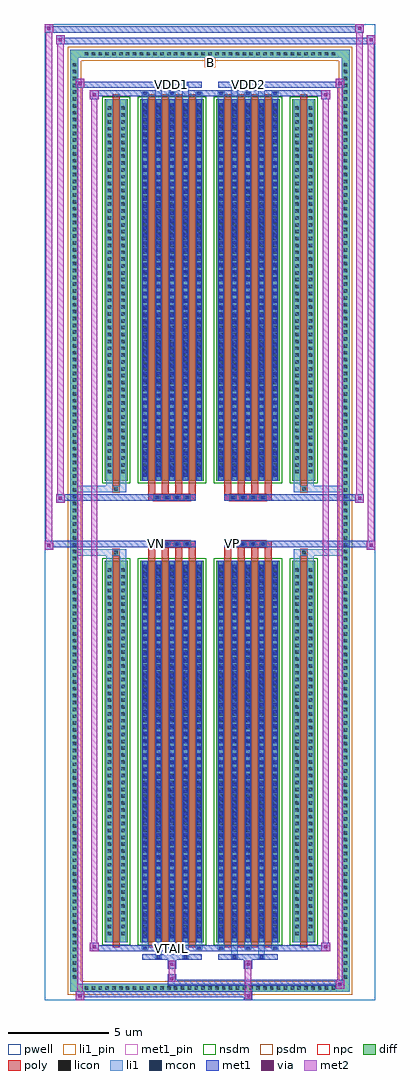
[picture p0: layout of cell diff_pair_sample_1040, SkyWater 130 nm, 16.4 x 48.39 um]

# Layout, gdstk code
import gdstk
lib = gdstk.Library(unit=1e-6, precision=5e-09)
def R(c, l, rs):  # rectangles x0, y0, x1, y1
    for r in rs: c.add(gdstk.rectangle(r[:2], r[2:], *l))
def A(c, l, x, y, w, h, nx, ny, dx, dy):  # array of equal rectangles
    R(c, l, [(x+i*dx, y+j*dy, x+i*dx+w, y+j*dy+h) for i in range(nx) for j in range(ny)])
def P(c, l, *ps):  # polygons
    for p in ps: c.add(gdstk.Polygon(p, *l))
pwell = (64, 44)
diff = (65, 20)
poly = (66, 20)
licon = (66, 44)
li1_pin = (67, 16)
li1 = (67, 20)
mcon = (67, 44)
met1_pin = (68, 16)
met1 = (68, 20)
via = (68, 44)
met2 = (69, 20)
nsdm = (93, 44)
psdm = (94, 20)
npc = (95, 20)

diff_pair_sample_1040 = lib.new_cell('diff_pair_sample_1040')
R(diff_pair_sample_1040, pwell, [(-8.2,-23.76,8.2,24.63), (-5.52,-21.95,-0.01,-0.795), (0.01,-21.95,5.52,-0.795), (-5.52,0.795,-0.01,21.95), (0.01,0.795,5.52,21.95)])
A(diff_pair_sample_1040, diff, -6.325, -23.36, 0.41, 0.41, 37, 2, 0.34, 46.31)
A(diff_pair_sample_1040, diff, -6.93, -22.815, 0.41, 0.41, 1, 134, 0, 0.34)
A(diff_pair_sample_1040, diff, 6.52, -22.815, 0.41, 0.41, 1, 134, 0, 0.34)
R(diff_pair_sample_1040, diff, [(-6.325,-23.36,6.325,-22.95), (-6.93,-22.815,-6.52,22.815), (6.52,-22.815,6.93,22.815), (-5.21,-20.905,-4.09,-1.985), (-3.45,-20.905,-0.32,-1.985), (0.32,-20.905,3.45,-1.985), (4.09,-20.905,5.21,-1.985), (-5.21,1.985,-4.09,20.905), (-3.45,1.985,-0.32,20.905), (0.32,1.985,3.45,20.905), (4.09,1.985,5.21,20.905), (-6.325,22.95,6.325,23.36)])
P(diff_pair_sample_1040, diff, [(6.93,23.36),(-6.93,23.36),(-6.93,-22.95),(-6.52,-22.95),(-6.52,22.95),(6.52,22.95),(6.52,-22.95),(-6.52,-22.95),(-6.93,-22.95),(-6.93,-23.36),(6.93,-23.36)])
A(diff_pair_sample_1040, poly, -3.06, -21.155, 0.34, 19.42, 4, 2, 0.67, 22.89)
A(diff_pair_sample_1040, poly, 0.71, -21.155, 0.34, 19.42, 4, 2, 0.67, 22.89)
A(diff_pair_sample_1040, poly, -3.06, -1.735, 0.34, 0.41, 4, 2, 0.67, 3.06)
A(diff_pair_sample_1040, poly, 0.71, -1.735, 0.34, 0.41, 4, 2, 0.67, 3.06)
A(diff_pair_sample_1040, poly, -2.8, -1.325, 0.33, 0.33, 4, 2, 0.5, 2.32)
A(diff_pair_sample_1040, poly, 0.97, -1.325, 0.33, 0.33, 4, 2, 0.5, 2.32)
R(diff_pair_sample_1040, poly, [(-4.82,-21.155,-4.48,-1.735), (4.48,-21.155,4.82,-1.735), (-4.815,-1.735,-4.485,-1.405), (-4.815,-1.735,-4.485,-1.405), (4.485,-1.735,4.815,-1.405), (4.485,-1.735,4.815,-1.405), (-3.06,-1.325,-0.71,-0.995), (0.71,-1.325,3.06,-0.995), (-3.06,0.995,-0.71,1.325), (0.71,0.995,3.06,1.325), (-4.815,1.405,-4.485,1.735), (-4.815,1.405,-4.485,1.735), (4.485,1.405,4.815,1.735), (4.485,1.405,4.815,1.735), (-4.82,1.735,-4.48,21.155), (4.48,1.735,4.82,21.155)])
A(diff_pair_sample_1040, licon, -6.205, -23.24, 0.17, 0.17, 37, 2, 0.34, 46.31)
A(diff_pair_sample_1040, licon, -6.81, -22.695, 0.17, 0.17, 1, 134, 0, 0.34)
A(diff_pair_sample_1040, licon, 6.64, -22.695, 0.17, 0.17, 1, 134, 0, 0.34)
A(diff_pair_sample_1040, licon, -5.07, -20.54, 0.17, 0.17, 1, 54, 0, 0.34)
A(diff_pair_sample_1040, licon, -4.4, -20.54, 0.17, 0.17, 1, 54, 0, 0.34)
A(diff_pair_sample_1040, licon, -3.31, -20.54, 0.17, 0.17, 5, 54, 0.67, 0.34)
A(diff_pair_sample_1040, licon, 0.46, -20.54, 0.17, 0.17, 5, 54, 0.67, 0.34)
A(diff_pair_sample_1040, licon, 4.23, -20.54, 0.17, 0.17, 1, 54, 0, 0.34)
A(diff_pair_sample_1040, licon, 4.9, -20.54, 0.17, 0.17, 1, 54, 0, 0.34)
A(diff_pair_sample_1040, licon, -2.72, -1.245, 0.17, 0.17, 4, 2, 0.5, 2.32)
A(diff_pair_sample_1040, licon, 1.05, -1.245, 0.17, 0.17, 4, 2, 0.5, 2.32)
A(diff_pair_sample_1040, licon, -5.07, 2.35, 0.17, 0.17, 1, 54, 0, 0.34)
A(diff_pair_sample_1040, licon, -4.4, 2.35, 0.17, 0.17, 1, 54, 0, 0.34)
A(diff_pair_sample_1040, licon, -3.31, 2.35, 0.17, 0.17, 5, 54, 0.67, 0.34)
A(diff_pair_sample_1040, licon, 0.46, 2.35, 0.17, 0.17, 5, 54, 0.67, 0.34)
A(diff_pair_sample_1040, licon, 4.23, 2.35, 0.17, 0.17, 1, 54, 0, 0.34)
A(diff_pair_sample_1040, licon, 4.9, 2.35, 0.17, 0.17, 1, 54, 0, 0.34)
R(diff_pair_sample_1040, licon, [(-4.735,-1.655,-4.565,-1.485), (4.565,-1.655,4.735,-1.485), (-4.735,1.485,-4.565,1.655), (4.565,1.485,4.735,1.655)])
R(diff_pair_sample_1040, li1_pin, [(-0.25,22.45,0.25,22.95)])
A(diff_pair_sample_1040, li1, -6.285, -23.32, 0.33, 0.33, 37, 2, 0.34, 46.31)
A(diff_pair_sample_1040, li1, -6.89, -22.775, 0.33, 0.33, 1, 134, 0, 0.34)
A(diff_pair_sample_1040, li1, 6.56, -22.775, 0.33, 0.33, 1, 134, 0, 0.34)
A(diff_pair_sample_1040, li1, -3.39, -21.28, 0.33, 0.375, 3, 2, 1.34, 42.185)
A(diff_pair_sample_1040, li1, -3.31, -21.28, 0.17, 0.17, 3, 2, 1.34, 42.39)
A(diff_pair_sample_1040, li1, 0.38, -21.28, 0.33, 0.375, 3, 2, 1.34, 42.185)
A(diff_pair_sample_1040, li1, 0.46, -21.28, 0.17, 0.17, 3, 2, 1.34, 42.39)
A(diff_pair_sample_1040, li1, -3.39, -20.905, 0.33, 18.92, 5, 2, 0.67, 22.89)
A(diff_pair_sample_1040, li1, 0.38, -20.905, 0.33, 18.92, 5, 2, 0.67, 22.89)
A(diff_pair_sample_1040, li1, -3.31, -20.71, 0.17, 0.17, 5, 52, 0.67, 0.36)
A(diff_pair_sample_1040, li1, -3.31, -20.71, 0.17, 18.53, 5, 2, 0.67, 22.89)
A(diff_pair_sample_1040, li1, 0.46, -20.71, 0.17, 0.17, 5, 52, 0.67, 0.36)
A(diff_pair_sample_1040, li1, 0.46, -20.71, 0.17, 18.53, 5, 2, 0.67, 22.89)
A(diff_pair_sample_1040, li1, -5.15, -20.62, 0.33, 0.33, 1, 54, 0, 0.34)
A(diff_pair_sample_1040, li1, -4.48, -20.62, 0.33, 0.33, 1, 54, 0, 0.34)
A(diff_pair_sample_1040, li1, -3.39, -20.62, 0.33, 0.33, 5, 54, 0.67, 0.34)
A(diff_pair_sample_1040, li1, 0.38, -20.62, 0.33, 0.33, 5, 54, 0.67, 0.34)
A(diff_pair_sample_1040, li1, 4.15, -20.62, 0.33, 0.33, 1, 54, 0, 0.34)
A(diff_pair_sample_1040, li1, 4.82, -20.62, 0.33, 0.33, 1, 54, 0, 0.34)
A(diff_pair_sample_1040, li1, -2.8, -1.325, 0.33, 0.33, 4, 2, 0.5, 2.32)
A(diff_pair_sample_1040, li1, 0.97, -1.325, 0.33, 0.33, 4, 2, 0.5, 2.32)
A(diff_pair_sample_1040, li1, -3.31, 2.18, 0.17, 0.17, 5, 52, 0.67, 0.36)
A(diff_pair_sample_1040, li1, 0.46, 2.18, 0.17, 0.17, 5, 52, 0.67, 0.36)
A(diff_pair_sample_1040, li1, -5.15, 2.27, 0.33, 0.33, 1, 54, 0, 0.34)
A(diff_pair_sample_1040, li1, -4.48, 2.27, 0.33, 0.33, 1, 54, 0, 0.34)
A(diff_pair_sample_1040, li1, -3.39, 2.27, 0.33, 0.33, 5, 54, 0.67, 0.34)
A(diff_pair_sample_1040, li1, 0.38, 2.27, 0.33, 0.33, 5, 54, 0.67, 0.34)
A(diff_pair_sample_1040, li1, 4.15, 2.27, 0.33, 0.33, 1, 54, 0, 0.34)
A(diff_pair_sample_1040, li1, 4.82, 2.27, 0.33, 0.33, 1, 54, 0, 0.34)
R(diff_pair_sample_1040, li1, [(-6.93,-23.36,-6.52,-22.95), (-6.93,-23.36,-6.52,-22.95), (-6.52,-23.36,6.52,-22.95), (6.52,-23.36,6.93,-22.95), (6.52,-23.36,6.93,-22.95), (-6.93,-22.95,-6.52,22.95), (6.52,-22.95,6.93,22.95), (-2.72,-21.71,-2.39,-20.905), (-2.64,-21.71,-2.47,-21.54), (-1.38,-21.71,-1.05,-20.905), (-1.3,-21.71,-1.13,-21.54), (1.05,-21.71,1.38,-20.905), (1.13,-21.71,1.3,-21.54), (2.39,-21.71,2.72,-20.905), (2.47,-21.71,2.64,-21.54), (-5.15,-20.905,-4.82,-1.985), (-4.48,-20.905,-4.15,-1.985), (4.15,-20.905,4.48,-1.985), (4.82,-20.905,5.15,-1.985), (-5.15,-1.985,-4.82,-1.405), (-4.48,-1.985,-4.15,-1.405), (4.15,-1.985,4.48,-1.405), (4.82,-1.985,5.15,-1.405), (-6.93,-1.735,-4.815,-1.405), (-5.15,-1.735,-4.815,-1.405), (-4.815,-1.735,-4.485,-1.405), (-4.485,-1.735,-4.15,-1.405), (4.15,-1.735,4.485,-1.405), (4.485,-1.735,4.815,-1.405), (4.485,-1.735,6.93,-1.405), (4.815,-1.735,5.15,-1.405), (-6.93,1.405,-4.815,1.735), (-5.15,1.405,-4.815,1.735), (-5.15,1.405,-4.82,1.985), (-4.815,1.405,-4.485,1.735), (-4.485,1.405,-4.15,1.735), (-4.48,1.405,-4.15,1.985), (4.15,1.405,4.485,1.735), (4.15,1.405,4.48,1.985), (4.485,1.405,4.815,1.735), (4.485,1.405,6.93,1.735), (4.815,1.405,5.15,1.735), (4.82,1.405,5.15,1.985), (-5.15,1.985,-4.82,20.905), (-4.48,1.985,-4.15,20.905), (4.15,1.985,4.48,20.905), (4.82,1.985,5.15,20.905), (-2.72,20.905,-2.39,21.71), (-1.38,20.905,-1.05,21.71), (1.05,20.905,1.38,21.71), (2.39,20.905,2.72,21.71), (-2.64,21.54,-2.47,21.71), (-1.3,21.54,-1.13,21.71), (1.13,21.54,1.3,21.71), (2.47,21.54,2.64,21.71), (-6.93,22.95,-6.52,23.36), (-6.93,22.95,-6.52,23.36), (-6.52,22.95,6.52,23.36), (6.52,22.95,6.93,23.36), (6.52,22.95,6.93,23.36)])
A(diff_pair_sample_1040, mcon, -3.31, -21.28, 0.17, 0.17, 3, 2, 1.34, 42.39)
A(diff_pair_sample_1040, mcon, 0.46, -21.28, 0.17, 0.17, 3, 2, 1.34, 42.39)
A(diff_pair_sample_1040, mcon, -3.31, -20.71, 0.17, 0.17, 5, 52, 0.67, 0.36)
A(diff_pair_sample_1040, mcon, 0.46, -20.71, 0.17, 0.17, 5, 52, 0.67, 0.36)
A(diff_pair_sample_1040, mcon, -2.72, -1.245, 0.17, 0.17, 4, 2, 0.5, 2.32)
A(diff_pair_sample_1040, mcon, 1.05, -1.245, 0.17, 0.17, 4, 2, 0.5, 2.32)
A(diff_pair_sample_1040, mcon, -3.31, 2.18, 0.17, 0.17, 5, 52, 0.67, 0.36)
A(diff_pair_sample_1040, mcon, 0.46, 2.18, 0.17, 0.17, 5, 52, 0.67, 0.36)
R(diff_pair_sample_1040, mcon, [(-2.64,-21.71,-2.47,-21.54), (-1.3,-21.71,-1.13,-21.54), (1.13,-21.71,1.3,-21.54), (2.47,-21.71,2.64,-21.54), (-2.64,21.54,-2.47,21.71), (-1.3,21.54,-1.13,21.71), (1.13,21.54,1.3,21.71), (2.47,21.54,2.64,21.71)])
R(diff_pair_sample_1040, met1_pin, [(-2.02,-21.32,-1.75,-21.05), (-2.77,-1.285,-2.5,-1.015), (1,-1.285,1.27,-1.015), (-2.02,21.5,-1.75,21.77), (1.75,21.5,2.02,21.77)])
A(diff_pair_sample_1040, met1, -3.37, -21.34, 0.29, 0.29, 3, 2, 1.34, 42.39)
A(diff_pair_sample_1040, met1, 0.4, -21.34, 0.29, 0.29, 3, 2, 1.34, 42.39)
A(diff_pair_sample_1040, met1, -3.37, -20.905, 0.29, 18.92, 5, 2, 0.67, 22.89)
A(diff_pair_sample_1040, met1, 0.4, -20.905, 0.29, 18.92, 5, 2, 0.67, 22.89)
A(diff_pair_sample_1040, met1, -3.37, -20.77, 0.29, 0.29, 5, 52, 0.67, 0.36)
A(diff_pair_sample_1040, met1, 0.4, -20.77, 0.29, 0.29, 5, 52, 0.67, 0.36)
A(diff_pair_sample_1040, met1, -2.78, -1.305, 0.29, 0.29, 4, 2, 0.5, 2.32)
A(diff_pair_sample_1040, met1, 0.99, -1.305, 0.29, 0.29, 4, 2, 0.5, 2.32)
A(diff_pair_sample_1040, met1, -3.37, 2.12, 0.29, 0.29, 5, 52, 0.67, 0.36)
A(diff_pair_sample_1040, met1, 0.4, 2.12, 0.29, 0.29, 5, 52, 0.67, 0.36)
R(diff_pair_sample_1040, met1, [(-6.66,-23.76,-6.23,-23.33), (1.67,-23.76,2.1,-23.33), (-6.66,-23.62,2.1,-23.33), (6.23,-23.19,6.66,-22.76), (-2.1,-23.05,6.66,-22.76), (-2.1,-22.91,-1.67,-22.48), (-2.1,-22.2,-1.67,-21.77), (1.67,-22.2,2.1,-21.77), (-3.37,-21.77,-0.4,-21.48), (-2.7,-21.77,-2.41,-21.48), (-1.36,-21.77,-1.07,-21.48), (0.4,-21.77,3.37,-21.48), (1.07,-21.77,1.36,-21.48), (2.41,-21.77,2.7,-21.48), (-5.95,-21.34,-5.52,-20.91), (-5.95,-21.34,-3.37,-21.05), (-3.37,-21.34,-0.4,-21.05), (-0.4,-21.34,0.4,-21.05), (0.4,-21.34,3.37,-21.05), (3.37,-21.34,5.95,-21.05), (5.52,-21.34,5.95,-20.91), (-8.2,-1.425,-7.77,-0.995), (7.77,-1.425,8.2,-0.995), (-8.2,-1.325,-0.71,-0.995), (-3.06,-1.325,-0.71,-0.995), (0.71,-1.325,3.06,-0.995), (0.71,-1.325,8.2,-0.995), (-7.63,0.895,-7.2,1.325), (7.2,0.895,7.63,1.325), (-7.63,0.995,-3.06,1.325), (-3.06,0.995,-0.71,1.325), (0.71,0.995,3.06,1.325), (3.06,0.995,7.63,1.325), (-5.95,20.91,-5.52,21.34), (5.52,20.91,5.95,21.34), (-5.95,21.05,-3.37,21.34), (-3.37,21.05,-0.4,21.34), (-0.4,21.05,0.4,21.34), (0.4,21.05,3.37,21.34), (3.37,21.05,5.95,21.34), (-6.66,21.48,-6.23,21.91), (-6.66,21.48,-3.37,21.77), (-3.37,21.48,-0.4,21.77), (-2.7,21.48,-2.41,21.77), (-1.36,21.48,-1.07,21.77), (0.4,21.48,3.37,21.77), (1.07,21.48,1.36,21.77), (2.41,21.48,2.7,21.77), (3.37,21.48,6.66,21.77), (6.23,21.48,6.66,21.91), (-7.63,23.63,-7.2,24.06), (-7.63,23.63,-5.52,23.96), (-5.52,23.63,5.52,23.96), (5.52,23.63,8.2,23.96), (7.77,23.63,8.2,24.06), (-8.2,24.2,-7.77,24.63), (-8.2,24.2,-5.52,24.53), (-5.52,24.2,5.52,24.53), (5.52,24.2,7.63,24.53), (7.2,24.2,7.63,24.63)])
R(diff_pair_sample_1040, via, [(-6.52,-23.62,-6.37,-23.47), (1.81,-23.62,1.96,-23.47), (6.37,-23.05,6.52,-22.9), (-1.96,-22.77,-1.81,-22.62), (-1.96,-22.06,-1.81,-21.91), (1.81,-22.06,1.96,-21.91), (-5.81,-21.2,-5.66,-21.05), (5.66,-21.2,5.81,-21.05), (-8.06,-1.285,-7.91,-1.135), (7.91,-1.285,8.06,-1.135), (-7.49,1.035,-7.34,1.185), (7.34,1.035,7.49,1.185), (-5.81,21.05,-5.66,21.2), (5.66,21.05,5.81,21.2), (-6.52,21.62,-6.37,21.77), (6.37,21.62,6.52,21.77), (-7.49,23.77,-7.34,23.92), (7.91,23.77,8.06,23.92), (-8.06,24.34,-7.91,24.49), (7.34,24.34,7.49,24.49)])
R(diff_pair_sample_1040, met2, [(-6.66,-23.76,-6.23,-23.33), (-6.59,-23.76,-6.3,21.91), (-6.3,-23.76,-6.23,-23.33), (-6.61,-23.71,-6.28,-23.38), (1.72,-23.71,2.05,-23.38), (1.72,-23.38,2.05,-22.15), (6.23,-23.19,6.66,-22.76), (6.3,-23.19,6.59,21.91), (6.59,-23.19,6.66,-22.76), (6.28,-23.14,6.61,-22.81), (-2.05,-22.86,-1.72,-22.53), (-2.05,-22.53,-1.72,-22.15), (-2.05,-22.15,-1.72,-21.82), (1.72,-22.15,2.05,-21.82), (-5.95,-21.34,-5.52,-20.91), (-5.88,-21.34,-5.59,21.34), (-5.59,-21.34,-5.52,-20.91), (5.52,-21.34,5.95,-20.91), (5.59,-21.34,5.88,21.34), (5.88,-21.34,5.95,-20.91), (-5.9,-21.29,-5.57,-20.96), (5.57,-21.29,5.9,-20.96), (-8.2,-1.425,-7.77,-0.995), (-8.15,-1.425,-7.82,24.63), (-7.82,-1.425,-7.77,-0.995), (7.77,-1.425,8.2,-0.995), (7.82,-1.425,8.15,24.06), (8.15,-1.425,8.2,-0.995), (-8.15,-1.375,-7.82,-1.045), (7.82,-1.375,8.15,-1.045), (-7.63,0.895,-7.2,1.325), (-7.58,0.895,-7.25,24.06), (-7.25,0.895,-7.2,1.325), (7.2,0.895,7.63,1.325), (7.25,0.895,7.58,24.63), (7.58,0.895,7.63,1.325), (-7.58,0.945,-7.25,1.275), (7.25,0.945,7.58,1.275), (-5.95,20.91,-5.52,21.34), (-5.59,20.91,-5.52,21.34), (5.52,20.91,5.95,21.34), (5.88,20.91,5.95,21.34), (-5.9,20.96,-5.57,21.29), (5.57,20.96,5.9,21.29), (-6.66,21.48,-6.23,21.91), (-6.3,21.48,-6.23,21.91), (6.23,21.48,6.66,21.91), (6.59,21.48,6.66,21.91), (-6.61,21.53,-6.28,21.86), (6.28,21.53,6.61,21.86), (-7.63,23.63,-7.2,24.06), (-7.25,23.63,-7.2,24.06), (7.77,23.63,8.2,24.06), (8.15,23.63,8.2,24.06), (-7.58,23.68,-7.25,24.01), (7.82,23.68,8.15,24.01), (-8.2,24.2,-7.77,24.63), (-7.82,24.2,-7.77,24.63), (7.2,24.2,7.63,24.63), (7.58,24.2,7.63,24.63), (-8.15,24.25,-7.82,24.58), (7.25,24.25,7.58,24.58)])
R(diff_pair_sample_1040, nsdm, [(-5.34,-21.035,-3.96,-1.855), (-3.58,-21.035,-0.19,-1.855), (0.19,-21.035,3.58,-1.855), (3.96,-21.035,5.34,-1.855), (-5.34,1.855,-3.96,21.035), (-3.58,1.855,-0.19,21.035), (0.19,1.855,3.58,21.035), (3.96,1.855,5.34,21.035)])
P(diff_pair_sample_1040, psdm, [(7.06,23.49),(-7.06,23.49),(-7.06,-22.82),(-6.39,-22.82),(-6.39,22.82),(6.39,22.82),(6.39,-22.82),(-6.39,-22.82),(-7.06,-22.82),(-7.06,-23.49),(7.06,-23.49)])
A(diff_pair_sample_1040, npc, -2.82, -1.345, 0.37, 0.37, 4, 2, 0.5, 2.32)
A(diff_pair_sample_1040, npc, 0.95, -1.345, 0.37, 0.37, 4, 2, 0.5, 2.32)
R(diff_pair_sample_1040, npc, [(-4.835,-1.755,-4.465,-1.385), (4.465,-1.755,4.835,-1.385), (-2.82,-1.345,-1.95,-0.975), (-2.82,-1.345,-1.95,-0.975), (-2.32,-1.345,-1.45,-0.975), (-2.32,-1.345,-1.45,-0.975), (-1.82,-1.345,-0.95,-0.975), (-1.82,-1.345,-0.95,-0.975), (0.95,-1.345,1.82,-0.975), (0.95,-1.345,1.82,-0.975), (1.45,-1.345,2.32,-0.975), (1.45,-1.345,2.32,-0.975), (1.95,-1.345,2.82,-0.975), (1.95,-1.345,2.82,-0.975), (-2.82,0.975,-1.95,1.345), (-2.82,0.975,-1.95,1.345), (-2.32,0.975,-1.45,1.345), (-2.32,0.975,-1.45,1.345), (-1.82,0.975,-0.95,1.345), (-1.82,0.975,-0.95,1.345), (0.95,0.975,1.82,1.345), (0.95,0.975,1.82,1.345), (1.45,0.975,2.32,1.345), (1.45,0.975,2.32,1.345), (1.95,0.975,2.82,1.345), (1.95,0.975,2.82,1.345), (-4.835,1.385,-4.465,1.755), (4.465,1.385,4.835,1.755)])
diff_pair_sample_1040.add(gdstk.Label('VTAIL', (-1.885,-21.185), layer=68, texttype=5))
diff_pair_sample_1040.add(gdstk.Label('VN', (-2.635,-1.15), layer=68, texttype=5))
diff_pair_sample_1040.add(gdstk.Label('VP', (1.135,-1.15), layer=68, texttype=5))
diff_pair_sample_1040.add(gdstk.Label('B', (0,22.7), layer=67, texttype=5))
diff_pair_sample_1040.add(gdstk.Label('VDD2', (1.885,21.635), layer=68, texttype=5))
diff_pair_sample_1040.add(gdstk.Label('VDD1', (-1.885,21.635), layer=68, texttype=5))

lib.write_gds('diff_pair_sample_1040.gds')
